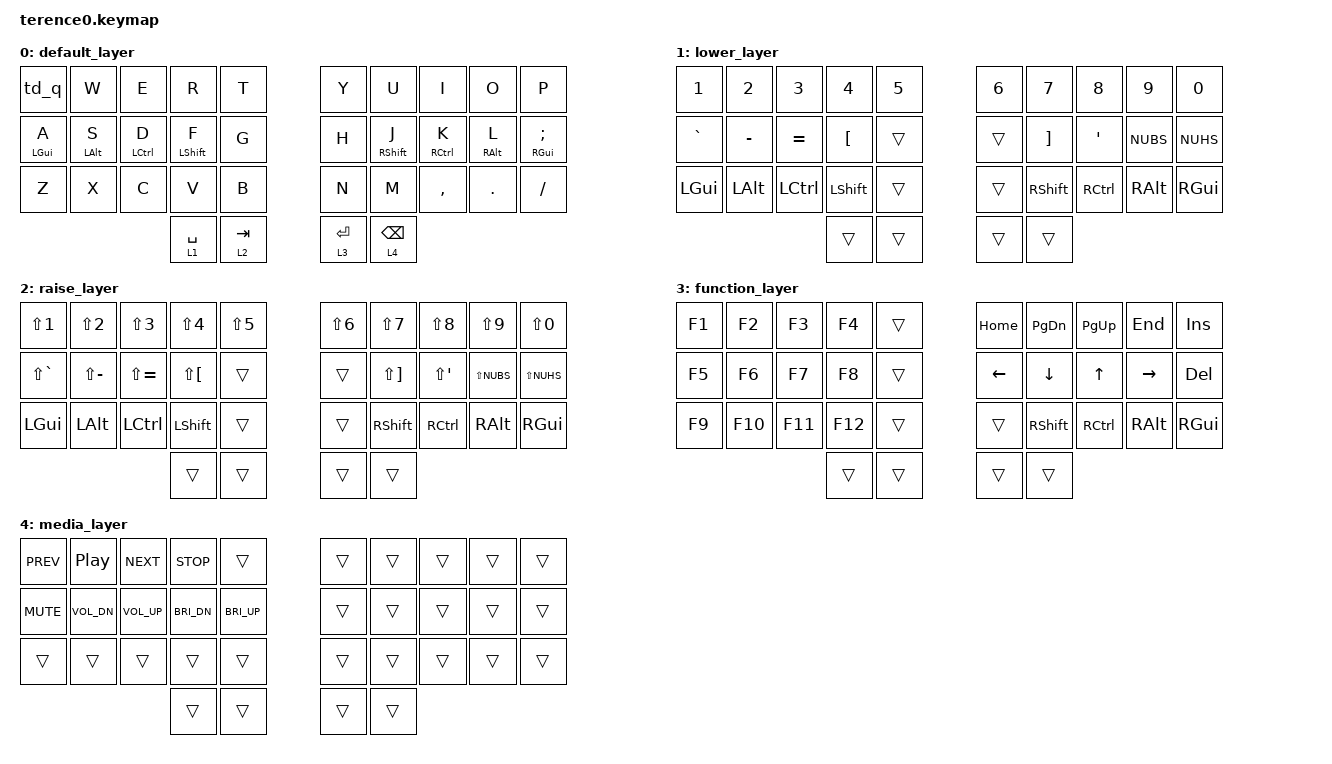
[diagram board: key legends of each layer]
#include <behaviors.dtsi>
#include <dt-bindings/zmk/keys.h>

/ {
    behaviors {
        td_q: tap_dance_q {
            compatible = "zmk,behavior-tap-dance";
            #binding-cells = <0>;
            tapping-term-ms = <200>;
            bindings = <&kp Q>, <&kp ESC>;
        };

        mt: mod_tap {
            compatible = "zmk,behavior-hold-tap";
            #binding-cells = <2>;
            flavor = "tap-preferred";
            tapping-term-ms = <250>;
            bindings = <&kp>, <&kp>;
        };
    };

    combos {
        compatible = "zmk,combos";
        combo_capslock {
            timeout-ms = <50>;
            key-positions = <13 16>;
            bindings = <&kp CAPS>;
        };
    };

    keymap {
        compatible = "zmk,keymap";

        // Layer 0: Base Layer with Homerow Mods
        default_layer {
            bindings = <
                &td_q        &kp W        &kp E        &kp R        &kp T              &kp Y        &kp U        &kp I        &kp O        &kp P
                &mt LGUI A   &mt LALT S   &mt LCTRL D  &mt LSHFT F  &kp G              &kp H        &mt RSHFT J  &mt RCTRL K  &mt RALT L   &mt RGUI SEMI
                &kp Z        &kp X        &kp C        &kp V        &kp B              &kp N        &kp M        &kp COMMA    &kp DOT      &kp FSLH
                                                       &lt 1 SPACE  &lt 2 TAB          &lt 3 RET    &lt 4 BSPC
            >;
        };

        // Layer 1: Numbers & Symbols
        lower_layer {
            bindings = <
                &kp N1       &kp N2       &kp N3       &kp N4       &kp N5             &kp N6       &kp N7       &kp N8       &kp N9       &kp N0
                &kp GRAVE    &kp MINUS    &kp EQUAL    &kp LBKT     &trans             &trans       &kp RBKT     &kp APOS     &kp NUBS     &kp NUHS
                &kp LGUI     &kp LALT     &kp LCTRL    &kp LSHFT    &trans             &trans       &kp RSHFT    &kp RCTRL    &kp RALT     &kp RGUI
                                                       &trans       &trans             &trans       &trans
            >;
        };

        // Layer 2: Shifted Numbers & Symbols
        raise_layer {
            bindings = <
                &kp LS(N1)   &kp LS(N2)   &kp LS(N3)   &kp LS(N4)   &kp LS(N5)         &kp LS(N6)   &kp LS(N7)   &kp LS(N8)   &kp LS(N9)   &kp LS(N0)
                &kp LS(GRAVE) &kp LS(MINUS) &kp LS(EQUAL) &kp LS(LBKT) &trans            &trans       &kp LS(RBKT) &kp LS(APOS) &kp LS(NUBS) &kp LS(NUHS)
                &kp LGUI     &kp LALT     &kp LCTRL    &kp LSHFT    &trans             &trans       &kp RSHFT    &kp RCTRL    &kp RALT     &kp RGUI
                                                       &trans       &trans             &trans       &trans
            >;
        };

        // Layer 3: Function Keys & Navigation
        function_layer {
            bindings = <
                &kp F1       &kp F2       &kp F3       &kp F4       &trans             &kp HOME     &kp PG_DN    &kp PG_UP    &kp END      &kp INS
                &kp F5       &kp F6       &kp F7       &kp F8       &trans             &kp LEFT     &kp DOWN     &kp UP       &kp RIGHT    &kp DEL
                &kp F9       &kp F10      &kp F11      &kp F12      &trans             &trans       &kp RSHFT    &kp RCTRL    &kp RALT     &kp RGUI
                                                       &trans       &trans             &trans       &trans
            >;
        };

        // Layer 4: Media Controls
        media_layer {
            bindings = <
                &kp C_PREV   &kp C_PP     &kp C_NEXT   &kp C_STOP   &trans             &trans       &trans       &trans       &trans       &trans
                &kp C_MUTE   &kp C_VOL_DN &kp C_VOL_UP &kp C_BRI_DN &kp C_BRI_UP       &trans       &trans       &trans       &trans       &trans
                &trans       &trans       &trans       &trans       &trans             &trans       &trans       &trans       &trans       &trans
                                                       &trans       &trans             &trans       &trans
            >;
        };
    };
};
